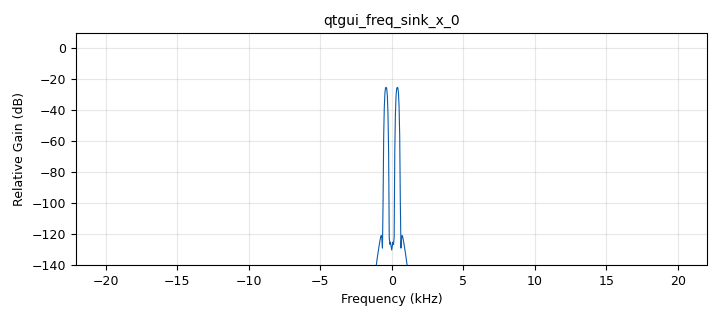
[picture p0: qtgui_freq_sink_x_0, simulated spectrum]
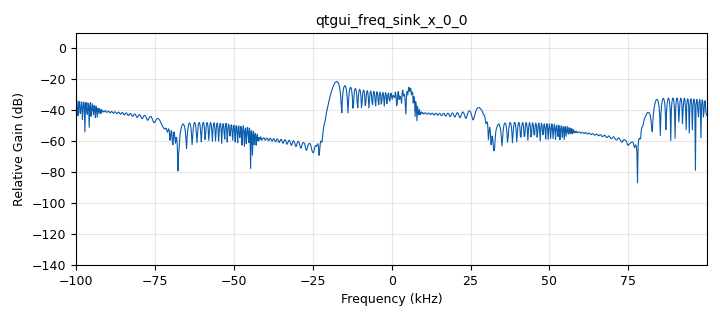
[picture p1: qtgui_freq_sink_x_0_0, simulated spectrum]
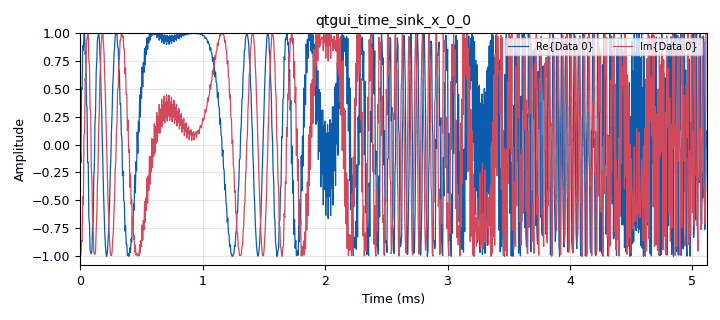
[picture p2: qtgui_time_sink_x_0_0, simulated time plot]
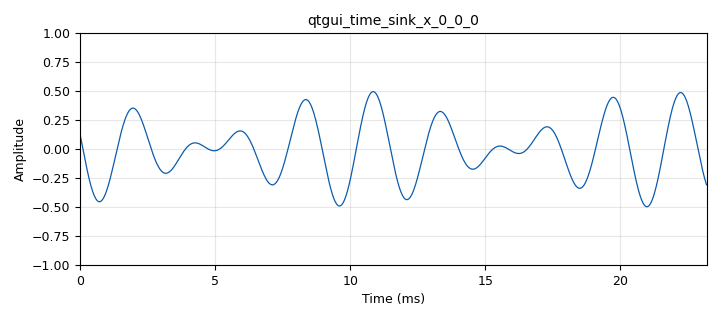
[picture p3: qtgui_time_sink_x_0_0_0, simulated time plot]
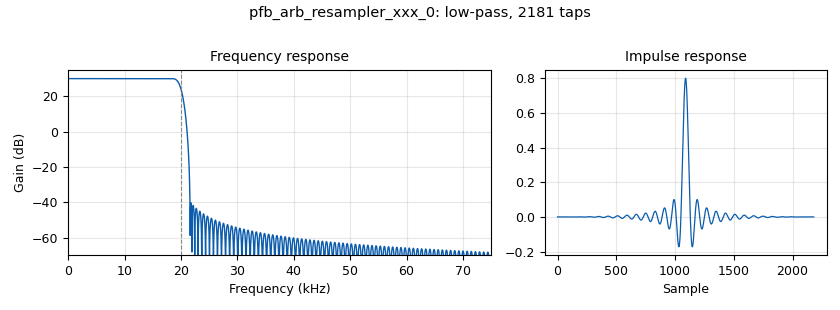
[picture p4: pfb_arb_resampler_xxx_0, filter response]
options:
  parameters:
    category: Custom
    generate_options: qt_gui
    id: fm_tx
    output_language: python
    run_options: run
  states: {}

blocks:
- name: audio_rate
  id: variable
  parameters:
    value: 44.1e3
  states: {}
- name: in_rate
  id: variable
  parameters:
    value: 50e3
  states: {}
- name: nfilts
  id: variable
  parameters:
    value: '32'
  states: {}
- name: resamp_rate
  id: variable
  parameters:
    value: in_rate/audio_rate
  states: {}
- name: tx_rate
  id: variable
  parameters:
    value: 200e3
  states: {}
- name: analog_sig_source_x_0
  id: analog_sig_source_x
  parameters:
    amp: '0.25'
    freq: '350'
    offset: '0'
    phase: '0'
    samp_rate: audio_rate
    type: float
    waveform: analog.GR_COS_WAVE
  states: {}
- name: analog_sig_source_x_1
  id: analog_sig_source_x
  parameters:
    amp: '0.25'
    freq: '440'
    offset: '0'
    phase: '0'
    samp_rate: audio_rate
    type: float
    waveform: analog.GR_COS_WAVE
  states: {}
- name: analog_wfm_tx_0
  id: analog_wfm_tx
  parameters:
    audio_rate: int(in_rate)
    fh: 0.925 * tx_rate/2.0
    max_dev: 75e3
    quad_rate: int(tx_rate)
    tau: '75e-6'
  states: {}
- name: audio_sink_0
  id: audio_sink
  parameters:
    samp_rate: int(audio_rate)
  states: {}
- name: blocks_add_xx_0
  id: blocks_add_xx
  parameters:
    type: float
  states: {}
- name: blocks_file_sink_0
  id: blocks_file_sink
  parameters:
    file: dummy.dat
    type: complex
  states: {}
- name: blocks_head_0
  id: blocks_head
  parameters:
    num_items: nitems
    type: complex
  states: {}
- name: blocks_skiphead_0
  id: blocks_skiphead
  parameters:
    num_items: '5000'
    type: complex
  states: {}
- name: nitems
  id: parameter
  parameters:
    label: Number of items to save
    short_id: N
    type: intx
    value: '1000000'
  states: {}
- name: pfb_arb_resampler_xxx_0
  id: pfb_arb_resampler_xxx
  parameters:
    atten: '100'
    nfilts: nfilts
    rrate: resamp_rate
    taps: firdes.low_pass_2(nfilts, nfilts*in_rate, 20e3, 2e3, 60, firdes.WIN_KAISER)
    type: fff
  states: {}
- name: qtgui_freq_sink_x_0
  id: qtgui_freq_sink_x
  parameters:
    bw: audio_rate
    fc: '0'
    fftsize: '1024'
    gui_hint: 1,0,1,1
    name: ''
    type: float
    wintype: firdes.WIN_BLACKMAN_hARRIS
  states: {}
- name: qtgui_freq_sink_x_0_0
  id: qtgui_freq_sink_x
  parameters:
    bw: tx_rate
    fc: '0'
    fftsize: '1024'
    gui_hint: 1,1,1,1
    name: ''
    type: complex
    wintype: firdes.WIN_BLACKMAN_hARRIS
  states: {}
- name: qtgui_time_sink_x_0_0
  id: qtgui_time_sink_x
  parameters:
    gui_hint: 0,1,1,1
    name: ''
    size: '1024'
    srate: tx_rate
    type: complex
  states: {}
- name: qtgui_time_sink_x_0_0_0
  id: qtgui_time_sink_x
  parameters:
    gui_hint: 0,0,1,1
    name: ''
    size: '1024'
    srate: audio_rate
    type: float
  states: {}

connections:
- [analog_sig_source_x_0, '0', blocks_add_xx_0, '0']
- [analog_sig_source_x_1, '0', blocks_add_xx_0, '1']
- [analog_wfm_tx_0, '0', blocks_skiphead_0, '0']
- [analog_wfm_tx_0, '0', qtgui_freq_sink_x_0_0, '0']
- [analog_wfm_tx_0, '0', qtgui_time_sink_x_0_0, '0']
- [blocks_add_xx_0, '0', audio_sink_0, '0']
- [blocks_add_xx_0, '0', pfb_arb_resampler_xxx_0, '0']
- [blocks_add_xx_0, '0', qtgui_freq_sink_x_0, '0']
- [blocks_add_xx_0, '0', qtgui_time_sink_x_0_0_0, '0']
- [blocks_head_0, '0', blocks_file_sink_0, '0']
- [blocks_skiphead_0, '0', blocks_head_0, '0']
- [pfb_arb_resampler_xxx_0, '0', analog_wfm_tx_0, '0']

metadata:
  file_format: 1
